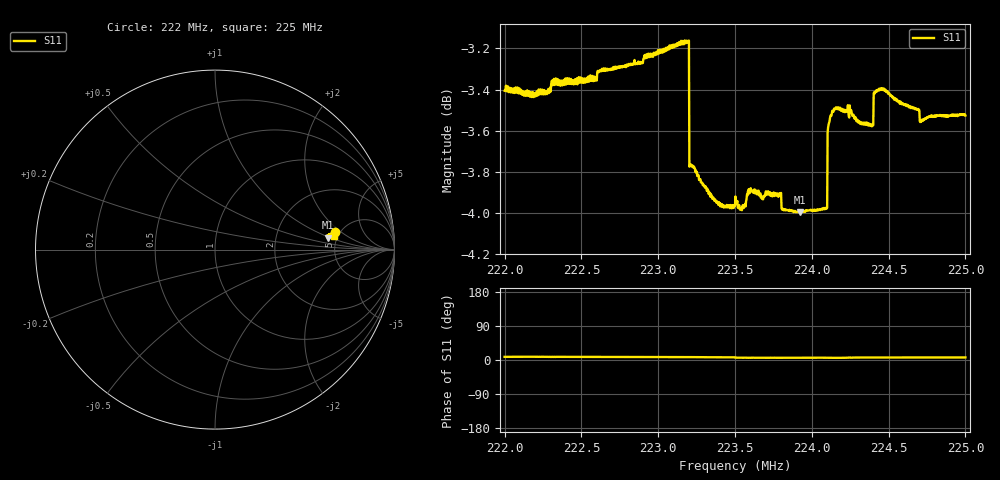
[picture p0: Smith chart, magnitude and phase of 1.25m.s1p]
! Calibrated averaged scanner-service zoom
# Hz S RI R 50
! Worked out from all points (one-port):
!   1001 points, 222 MHz to 225 MHz, reference 50 ohm
!   lowest |S11| = -4.0 dB at 223.92 MHz (marker M1), VSWR 4.42, Z = 211 + j46 ohm
!   |S11| at or under -10 dB: nowhere
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2.22e8  0.6685 0.098
2.22189e8  0.6655 0.1014
2.22375e8  0.6705 0.0983
2.2275e8  0.678 0.0955
2.23125e8  0.6875 0.094
2.23185e8  0.6885 0.0933
2.23218e8  0.6418 0.0861
2.23377e8  0.6299 0.0796
2.23485e8  0.6286 0.0772
2.235e8  0.6287 0.078
2.23518e8  0.629 0.0699
2.23551e8  0.6303 0.066
2.23614e8  0.6355 0.0662
2.23785e8  0.634 0.0649
2.23818e8  0.6286 0.0648
2.23875e8  0.6285 0.0644
2.2392e8  0.6277 0.0657
2.24085e8  0.6287 0.0669
2.24121e8  0.6627 0.068
2.24172e8  0.6661 0.066
2.2425e8  0.6639 0.0707
2.24385e8  0.6584 0.0777
2.24418e8  0.6714 0.0758
2.24454e8  0.6721 0.076
2.24625e8  0.6657 0.0773
2.24685e8  0.6638 0.0785
2.24718e8  0.66 0.0773
2.25e8  0.6617 0.0784
